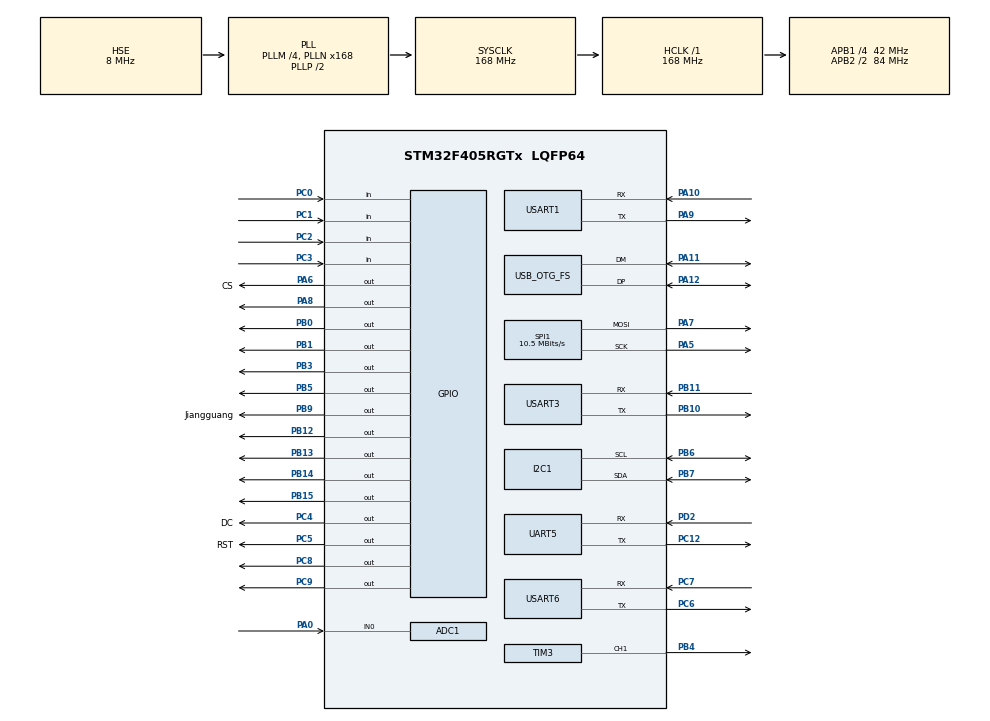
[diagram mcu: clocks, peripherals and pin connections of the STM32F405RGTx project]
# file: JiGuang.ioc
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ADC1.Channel-4\#ChannelRegularConversion=ADC_CHANNEL_0
ADC1.NbrOfConversionFlag=1
ADC1.Rank-4\#ChannelRegularConversion=1
ADC1.SamplingTime-4\#ChannelRegularConversion=ADC_SAMPLETIME_56CYCLES
ADC1.master=1
Dma.Request0=USART3_RX
Dma.USART3_RX.0.Direction=DMA_PERIPH_TO_MEMORY
Dma.USART3_RX.0.FIFOMode=DMA_FIFOMODE_DISABLE
Dma.USART3_RX.0.Instance=DMA1_Stream1
Dma.USART3_RX.0.MemDataAlignment=DMA_MDATAALIGN_BYTE
Dma.USART3_RX.0.MemInc=DMA_MINC_ENABLE
Dma.USART3_RX.0.Mode=DMA_CIRCULAR
Dma.USART3_RX.0.PeriphDataAlignment=DMA_PDATAALIGN_BYTE
Dma.USART3_RX.0.PeriphInc=DMA_PINC_DISABLE
Dma.USART3_RX.0.Priority=DMA_PRIORITY_LOW
I2C1.I2C_Mode=I2C_Fast
Mcu.Family=STM32F4
Mcu.Name=STM32F405RGTx
Mcu.Package=LQFP64
NVIC.DMA1_Stream1_IRQn=true\:0\:0\:false\:false\:true\:false\:true\:true
NVIC.PriorityGroup=NVIC_PRIORITYGROUP_4
NVIC.TIM2_IRQn=true\:0\:0\:false\:false\:true\:true\:true\:true
NVIC.UART5_IRQn=true\:0\:0\:false\:false\:true\:true\:true\:true
PA0-WKUP.Signal=ADCx_IN0
PA10.Mode=Asynchronous
PA10.Signal=USART1_RX
PA11.Mode=Device_Only
PA11.Signal=USB_OTG_FS_DM
PA12.Mode=Device_Only
PA12.Signal=USB_OTG_FS_DP
PA13.Mode=Serial_Wire
PA13.Signal=SYS_JTMS-SWDIO
PA14.Mode=Serial_Wire
PA14.Signal=SYS_JTCK-SWCLK
PA5.Mode=TX_Only_Simplex_Unidirect_Master
PA5.Signal=SPI1_SCK
PA6.GPIO_Label=CS
PA6.Signal=GPIO_Output
PA7.Mode=TX_Only_Simplex_Unidirect_Master
PA7.Signal=SPI1_MOSI
PA8.Signal=GPIO_Output
PA9.Mode=Asynchronous
PA9.Signal=USART1_TX
PB0.Signal=GPIO_Output
PB1.Signal=GPIO_Output
PB10.Mode=Asynchronous
PB10.Signal=USART3_TX
PB11.Mode=Asynchronous
PB11.Signal=USART3_RX
PB12.Signal=GPIO_Output
PB13.Signal=GPIO_Output
PB14.Signal=GPIO_Output
PB15.Signal=GPIO_Output
PB3.Signal=GPIO_Output
PB4.Signal=S_TIM3_CH1
PB5.Signal=GPIO_Output
PB6.Mode=I2C
PB6.Signal=I2C1_SCL
PB7.Mode=I2C
PB7.Signal=I2C1_SDA
PB9.GPIO_Label=Jiangguang
PB9.Signal=GPIO_Output
PC0.Signal=GPIO_Input
PC1.Signal=GPIO_Input
PC12.Mode=Asynchronous
PC12.Signal=UART5_TX
PC14-OSC32_IN.Mode=LSE-External-Oscillator
PC14-OSC32_IN.Signal=RCC_OSC32_IN
PC15-OSC32_OUT.Mode=LSE-External-Oscillator
PC15-OSC32_OUT.Signal=RCC_OSC32_OUT
PC2.Signal=GPIO_Input
PC3.Signal=GPIO_Input
PC4.GPIO_Label=DC
PC4.Signal=GPIO_Output
PC5.GPIO_Label=RST
PC5.Signal=GPIO_Output
PC6.Mode=Asynchronous
PC6.Signal=USART6_TX
PC7.Mode=Asynchronous
PC7.Signal=USART6_RX
PC8.Signal=GPIO_Output
PC9.Signal=GPIO_Output
PD2.Mode=Asynchronous
PD2.Signal=UART5_RX
PH0-OSC_IN.Mode=HSE-External-Oscillator
PH0-OSC_IN.Signal=RCC_OSC_IN
PH1-OSC_OUT.Mode=HSE-External-Oscillator
PH1-OSC_OUT.Signal=RCC_OSC_OUT
ProjectManager.HeapSize=0x200
ProjectManager.StackSize=0x400
ProjectManager.TargetToolchain=MDK-ARM V5.32
RCC.48MHZClocksFreq_Value=48000000
RCC.AHBFreq_Value=168000000
RCC.APB1CLKDivider=RCC_HCLK_DIV4
RCC.APB1Freq_Value=42000000
RCC.APB1TimFreq_Value=84000000
RCC.APB2CLKDivider=RCC_HCLK_DIV2
RCC.APB2Freq_Value=84000000
RCC.APB2TimFreq_Value=168000000
RCC.CortexFreq_Value=168000000
RCC.HCLKFreq_Value=168000000
RCC.HSE_VALUE=8000000
RCC.HSI_VALUE=16000000
RCC.PLLM=4
RCC.PLLN=168
RCC.PLLQ=7
RCC.SYSCLKFreq_VALUE=168000000
RCC.SYSCLKSource=RCC_SYSCLKSOURCE_PLLCLK
RCC.VCOOutputFreq_Value=336000000
SH.ADCx_IN0.0=ADC1_IN0,IN0
SH.S_TIM3_CH1.0=TIM3_CH1,PWM Generation1 CH1
SPI1.BaudRatePrescaler=SPI_BAUDRATEPRESCALER_8
SPI1.CalculateBaudRate=10.5 MBits/s
SPI1.Direction=SPI_DIRECTION_2LINES
SPI1.Mode=SPI_MODE_MASTER
SPI1.VirtualType=VM_MASTER
TIM2.AutoReloadPreload=TIM_AUTORELOAD_PRELOAD_ENABLE
TIM2.Period=2624
TIM3.Channel-PWM\ Generation1\ CH1=TIM_CHANNEL_1
UART5.VirtualMode=Asynchronous
USART1.VirtualMode=VM_ASYNC
USART3.VirtualMode=VM_ASYNC
USART6.VirtualMode=VM_ASYNC
USB_OTG_FS.VirtualMode=Device_Only
VP_TIM2_VS_ClockSourceINT.Mode=Internal
board=custom

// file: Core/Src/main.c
/* USER CODE BEGIN Header */
/**
  ******************************************************************************
  * @file           : main.c
  * @brief          : Main program body
  ******************************************************************************
  * @attention
  *
  * Copyright (c) 2026 STMicroelectronics.
  * All rights reserved.
  *
  * This software is licensed under terms that can be found in the LICENSE file
  * in the root directory of this software component.
  * If no LICENSE file comes with this software, it is provided AS-IS.
  *
  ******************************************************************************
  */
/* USER CODE END Header */
#include "main.h"
#include "adc.h"
#include "dma.h"
#include "i2c.h"
#include "spi.h"
#include "tim.h"
#include "usart.h"
#include "usb_otg.h"
#include "gpio.h"

/* USER CODE BEGIN Includes */
#include <string.h>   /* memcpy */
#include "oled.h"
#include "test.h"
#include "tf_card.h"
#include "tf_image.h"   /* ★ TF 卡分支用：读卡上的 IMG.BIN + 环形缓冲 */
/* USER CODE END Includes */

/* USER CODE BEGIN PV */

uint32_t read_cusor = 0;
uint32_t write_cusor = 0;
conformation x, y;
volatile state sys_state;
uint8_t* alarm;

uint8_t ctrl_req[3] = {0x55, 0x44, 0xAA};   			 /* 换成你的 3 字节内容 */
uint8_t req_pending = 0;                          	/* 1 = 已发出，等 67 字节回包 */
uint32_t req_sent_ms = 0;
volatile uint8_t need_send_ctl = 0;   				      /* 1 = 该发控制信号了 */
uint8_t RX_number = 0;
uint8_t RX_data[8][64] = {0};
uint8_t RX_Ctl[8];
uint32_t RX_write_cusor = 0;
uint32_t work_cusor = 0;
uint32_t work_cusor_point = 0;
volatile uint8_t work_cusor_flag = 0;

uint32_t x_work_orgin = 0;
uint32_t y_work_orgin = 0;

uint8_t DataBack[3] = {0x33, 0x00, 0xEE};
uint8_t UART_Idle = 0;

/* USER CODE END PV */

void SystemClock_Config(void);

int main(void)
{

  /* MCU Configuration--------------------------------------------------------*/

  /* Reset of all peripherals, Initializes the Flash interface and the Systick. */
  HAL_Init();

  /* Configure the system clock */
  SystemClock_Config();

  /* Initialize all configured peripherals */
  MX_GPIO_Init();
  MX_DMA_Init();
  MX_ADC1_Init();
  MX_UART5_Init();
  MX_USART1_UART_Init();
  MX_USART3_UART_Init();
  MX_USART6_UART_Init();
  MX_I2C1_Init();
  MX_SPI1_Init();
  MX_TIM3_Init();
  MX_USB_OTG_FS_PCD_Init();
  MX_TIM2_Init();

  /* USER CODE BEGIN 2 */

  OLED_Init();

  laser_close();

  //test_tf_card();

  //test_laser_PWM_fre_limit_24V();
  homing();

  //test_homing();
//  test_go_to_point();
//  test_laser_PWM_fre_limit_24V();
//  test_delay();

/* ★★ 数据源开关：宏定义在 configure.h 里。
       0 = 蓝牙(BT)下发   1 = TF 卡 IMG.BIN
   ⚠ 这里的宏名【必须】和 configure.h 里的一字不差 ——
     名字写错时，未定义的宏在 #if 里当 0，会【静默】走蓝牙那一臂，
     现象是"电机不动 / 一直等上位机"，非常难查。
     configure.h 里改过名字的话，这里也要跟着改。 */
#ifndef BT_or_TFCard
#error "configure.h has no BT_or_TFCard - macro renamed? fix the name here too"
#endif
#if BT_or_TFCard

	/* ====================================================================
	 * TF 卡分支 —— 数据源从「蓝牙串口」换成「卡上的 IMG.BIN」
	 *
	 *   · 灰度数据：TFIMG_*（tf_image.c，32KB 环形缓冲，边读卡边消费）
	 *   · 行/列点数：直接取自图像头（x=宽, y=高），不再等上位机下发
	 *   · 回显：沿用原来的 DataBack（0x33 灰度 0xEE），一行没改
	 *   · 雕刻循环与下面 RT 分支同构，只有「取数」那一处不同
	 *
	 *   ★ 卡上放「导出TF卡图像(.bin)」生成的 IMG.BIN（8.3 短名，大写）。
	 *     数据本身就是雕刻顺序（弓字形/换行上位机已处理），所以这里
	 *     按顺序取字节即可，行尾不需要像 RT 那样跳包。
	 * ==================================================================== */

	if(TFIMG_Open(0) != TF_OK){        /* 0 = 用默认名 TFIMG_FILE_NAME(IMG.BIN) */
		laser_close();
		OLED_Clear();
		char tf_err[] = {"TF IMG OPEN FAIL"};
		OLED_ShowString(0, 0, tf_err, OLED_FONT_08, 1);
		OLED_ShowString(0, 16, TFIMG_ErrStr(), OLED_FONT_08, 1);
		OLED_Refresh();
		while(1);
	}

	/* 点数取自图像头：x = 宽（一行点数），y = 高（行数） */
	x.all_point = TFIMG_Width();
	y.all_point = TFIMG_Height();

	/* ★ 开雕前先把"读到的图像信息"显示清楚 —— 第一次跑就靠这几行判断
	   "卡上文件读到没有"。没有 OLED_Clear() 的话会叠在 homing 的字上，看不清。
	   （行数/每行点数不对 = 文件不对或读错了，别急着让它动） */
	OLED_Clear();
	OLED_ShowString(0,  0, "TF IMG OK", OLED_FONT_08, 1);
	OLED_ShowString(0, 16, "rows", OLED_FONT_08, 1);
	OLED_ShowNum(  40, 16, y.all_point, OLED_FONT_08, 1);
	OLED_ShowString(0, 32, "cols", OLED_FONT_08, 1);
	OLED_ShowNum(  40, 32, x.all_point, OLED_FONT_08, 1);
	OLED_Refresh();

	goto_point(x_work_orgin,y_work_orgin);

	/* ★ 加工前的额外定位：先回作业原点，再移到 (X=500, Y=10)，
	   然后从这里开始雕。
	   ★ 必须放在 HAL_TIM_Base_Start_IT / sys_state = working 【之前】——
	     goto_point() 自己一步步走电机，定时器一旦跑起来中断也在走电机，
	     两边会打架。
	   ★ 想直接去 (500,10)、不回原点，就把上面那句删掉；
	     想改目标点就改这两个数（单位 = 像素点，和作业原点同一套）。 */
	goto_point(500+x.all_point, 240+350 );
    HAL_GPIO_TogglePin(x_dir_grop, x_dir_pin);

	x.lock        = 0;
	y.lock        = 0;
	x.divide_step = 0;
	y.divide_step = 0;
	x.add_flag = 0;
	y.add_flag = 0;
	x.cur_point = 0;
	y.cur_point = 0;
	work_cusor = 0;
	work_cusor_point = 0;
	work_cusor_flag = 0;

	/* ★ 先把环形缓冲垫满，再让机器动。
	   Fill() 要读满 32KB（几十毫秒）；如果放在 sys_state = working 之后，
	   这段时间电机会先走、x.add_flag 会攒一堆，循环一起来就把开头的点
	   全挤在一起出光（工件上能看到起步一段糊掉）。
	   放在电机启动之前，读卡时间就完全不影响雕刻。 */
	TFIMG_Fill();

	htim2.Init.Period    = RASTER_TIM2_PERIOD;
	htim2.Init.Prescaler = 0U;
	(void)HAL_TIM_Base_Init(&htim2);
	__HAL_TIM_CLEAR_FLAG(&htim2, TIM_FLAG_UPDATE);

	HAL_TIM_Base_Start_IT(&htim2);

	sys_state = working;

	while (1)
	{
		/* 卡 -> 环形缓冲：能塞多少塞多少；缓冲满时立刻返回，不阻塞 */
		TFIMG_Fill();

		if(y.cur_point >= y.all_point){
			HAL_TIM_Base_Stop_IT(&htim2);
			laser_close();
			OLED_Clear();
			char program_end[] = {"program end!"};
			OLED_ShowString(0, 0, program_end, OLED_FONT_08, 1);
			OLED_ShowNum(0,16,y.cur_point,OLED_FONT_08, 1);
			OLED_ShowNum(0,32,x.cur_point,OLED_FONT_08, 1);
			OLED_Refresh();
			while(1);
		}

		if(x.add_flag){
			uint8_t tf_gray = 0;

			x.add_flag = 0;

			/* ★ 与 RT 分支唯一的区别：这一字节来自 TF 卡的环形缓冲。
			   取不到 = 卡跟不上/数据读完 —— 先停激光再报错，
			   绝不能让激光悬在半空。 */
			if(TFIMG_GetByte(&tf_gray) == 0){
				HAL_TIM_Base_Stop_IT(&htim2);
				laser_close();
				OLED_Clear();
				char tf_empty[] = {"TF UNDERFLOW!!"};
				OLED_ShowString(0, 0, tf_empty, OLED_FONT_08, 1);
				OLED_ShowNum(0,16,x.cur_point,OLED_FONT_08, 1);
				OLED_Refresh();
				while(1);
			}

			laser_open();

#if TIME_DELAY

			alarm = Creat_alarm(tf_gray * LASER_POWER);
			if(alarm == NULL){
				HAL_TIM_Base_Stop_IT(&htim2);
				OLED_Clear();
				char program_error[] = {"program error!!!"};
				OLED_ShowString(0, 0, program_error, OLED_FONT_08, 1);
				char program_error_1[] = {"delay_error!!!"};
				OLED_ShowString(0, 16, program_error_1, OLED_FONT_08, 1);
				OLED_Refresh();
				while(1);
			}

#else

			set_delay_time(tf_gray * LASER_POWER);

#endif

			DataBack[1] = tf_gray;
			if(UART_Idle == 0){
				USART3_SendDMA(DataBack, 3);
			}

			work_cusor_point++;
			if(work_cusor_point == 64 || work_cusor_flag == 1){
				/* 行尾不需要像 RT 那样跳包（数据已是雕刻顺序），只清标志 */
				work_cusor_flag = 0;
				work_cusor++;
				work_cusor_point = 0;
			}
		}

		delay_till();

#if TIME_DELAY

		if((alarm != NULL) && (*alarm)){
			laser_close();
			*alarm = 0;
			free(alarm);
			alarm = NULL;
		}

#endif
	}
}

#else

	if(BT_Send_Ctrl() != 1){
		for(int i = 0; i < 8; i++){
			memset(RX_data[i], 0, 64);
		}
		char program_error[] = {"BT Try again..."};
		OLED_ShowString(0, 16, program_error, OLED_FONT_08, 1);
		OLED_Refresh();
		if(BT_Send_Ctrl() != 1){
            char program_error[] = {"USART error!!!"};
            OLED_ShowString(0, 32, program_error, OLED_FONT_08, 1);
            OLED_Refresh();
			while(1);
		}
	}

	OLED_ShowNum(0,16,y.all_point,OLED_FONT_08, 1);
	OLED_ShowNum(0,32,x.all_point,OLED_FONT_08, 1);
    OLED_Refresh();
	waiting();
	USART3_RxStart();
	goto_point(x_work_orgin,y_work_orgin);
    x.lock        = 0;
    y.lock        = 0;
    x.divide_step = 0;
    y.divide_step = 0;
	x.add_flag = 0;
	y.add_flag = 0;
	x.cur_point = 0;
	y.cur_point = 0;
	work_cusor = 0;

	htim2.Init.Period    = RASTER_TIM2_PERIOD;
	htim2.Init.Prescaler = 0U;
	(void)HAL_TIM_Base_Init(&htim2);
	__HAL_TIM_CLEAR_FLAG(&htim2, TIM_FLAG_UPDATE);

	HAL_TIM_Base_Start_IT(&htim2);

	sys_state = working;

	RX_write_cusor = 0;

  /* USER CODE END 2 */

  /* Infinite loop */
  while (1)
  {

      RX_number = USART3_RxPoll();
      if(RX_number == USART3_CMD_BUF_SIZE){
		if(usart3_cmd_buf[0] == 0x55 && usart3_cmd_buf[68] == 0xAA){
			memcpy(RX_data[(RX_write_cusor % 8)], usart3_cmd_buf + 2, 64);
			usart3_cmd_buf[0] = 0x00;
			usart3_cmd_buf[68] = 0x00;
			RX_Ctl[(RX_write_cusor % 8)] = usart3_cmd_buf[1];
			RX_write_cusor++;
		}
	    RX_number = 0;
		USART3_RxStart();
      }

      if(y.cur_point >= y.all_point){
        HAL_TIM_Base_Stop_IT(&htim2);
        laser_close();
		OLED_Clear();
        char program_end[] = {"program end!"};
        OLED_ShowString(0, 0, program_end, OLED_FONT_08, 1);
		OLED_ShowNum(0,16,y.cur_point,OLED_FONT_08, 1);
		OLED_ShowNum(0,32,x.cur_point,OLED_FONT_08, 1);
        OLED_ShowString(0, 0, program_end, OLED_FONT_08, 1);
        OLED_Refresh();
        while(1);
      }

      if(x.add_flag){
        x.add_flag = 0;
        laser_open();

#if TIME_DELAY

        alarm = Creat_alarm(RX_data[work_cusor % 8][work_cusor_point] * LASER_POWER);
        if(alarm == NULL){
            HAL_TIM_Base_Stop_IT(&htim2);
			OLED_Clear();
            char program_error[] = {"program error!!!"};
            OLED_ShowString(0, 0, program_error, OLED_FONT_08, 1);
            char program_error_1[] = {"delay_error!!!"};
            OLED_ShowString(0, 16, program_error_1, OLED_FONT_08, 1);
            OLED_Refresh();
            while(1);
        }

#else

        set_delay_time(RX_data[(work_cusor % 8)][work_cusor_point] * LASER_POWER);

#endif

		DataBack[1] = RX_data[(work_cusor % 8)][work_cusor_point];
		if(UART_Idle == 0){
			USART3_SendDMA(DataBack, 3);
		}

		work_cusor_point++;
		if(work_cusor_point == 64 || work_cusor_flag == 1){
			work_cusor_flag = 0;
			work_cusor++;
			work_cusor_point = 0;
		}
      }

      delay_till();

#if TIME_DELAY

      if((alarm != NULL) && (*alarm)){
        laser_close();
        *alarm = 0;
        free(alarm);
        alarm = NULL;
      }

#endif

  }
}

#endif   /* BT_or_TFCard: 0 = BT/Bluetooth, 1 = TF card */

void SystemClock_Config(void)
{
  RCC_OscInitTypeDef RCC_OscInitStruct = {0};
  RCC_ClkInitTypeDef RCC_ClkInitStruct = {0};

  /** Configure the main internal regulator output voltage
  */
  __HAL_RCC_PWR_CLK_ENABLE();
  __HAL_PWR_VOLTAGESCALING_CONFIG(PWR_REGULATOR_VOLTAGE_SCALE1);

  /** Initializes the RCC Oscillators according to the specified parameters
  * in the RCC_OscInitTypeDef structure.
  */
  RCC_OscInitStruct.OscillatorType = RCC_OSCILLATORTYPE_HSE;
  RCC_OscInitStruct.HSEState = RCC_HSE_ON;
  RCC_OscInitStruct.PLL.PLLState = RCC_PLL_ON;
  RCC_OscInitStruct.PLL.PLLSource = RCC_PLLSOURCE_HSE;
  RCC_OscInitStruct.PLL.PLLM = 4;
  RCC_OscInitStruct.PLL.PLLN = 168;
  RCC_OscInitStruct.PLL.PLLP = RCC_PLLP_DIV2;
  RCC_OscInitStruct.PLL.PLLQ = 7;
  if (HAL_RCC_OscConfig(&RCC_OscInitStruct) != HAL_OK)
  {
    Error_Handler();
  }

  /** Initializes the CPU, AHB and APB buses clocks
  */
  RCC_ClkInitStruct.ClockType = RCC_CLOCKTYPE_HCLK|RCC_CLOCKTYPE_SYSCLK
                              |RCC_CLOCKTYPE_PCLK1|RCC_CLOCKTYPE_PCLK2;
  RCC_ClkInitStruct.SYSCLKSource = RCC_SYSCLKSOURCE_PLLCLK;
  RCC_ClkInitStruct.AHBCLKDivider = RCC_SYSCLK_DIV1;
  RCC_ClkInitStruct.APB1CLKDivider = RCC_HCLK_DIV4;
  RCC_ClkInitStruct.APB2CLKDivider = RCC_HCLK_DIV2;

  if (HAL_RCC_ClockConfig(&RCC_ClkInitStruct, FLASH_LATENCY_5) != HAL_OK)
  {
    Error_Handler();
  }
}

/* USER CODE BEGIN 4 */
/* ★ 注意: TIM2_IRQHandler() 已统一放到 Core/Src/stm32f4xx_it.c 中实现, 此处不要再写一份。
   中断向量只能有一个函数体, 若在此处再定义一份会立即与 stm32f4xx_it.c 冲突,
   链接时报 "Error: L6200E: Symbol TIM2_IRQHandler multiply defined"。
   (这个函数曾被覆盖操作还原回过 main.c, 若又出现, 删掉它即可。) */

/* USER CODE END 4 */

void Error_Handler(void)
{
  __disable_irq();
  while (1)
  {
  }
}
